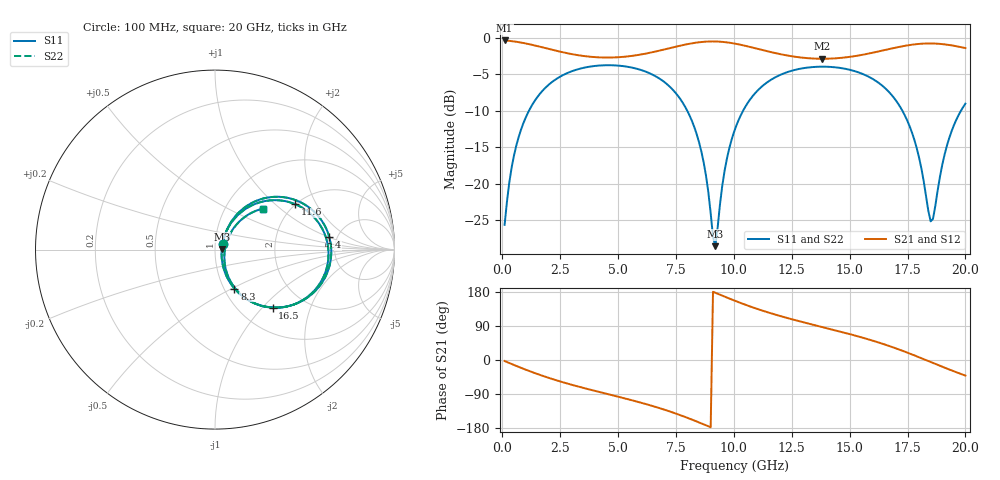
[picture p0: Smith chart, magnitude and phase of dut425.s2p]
! Touchstone file exported from HFSS 2026.1.0
!  File:  C:/ffzhzh/LocalFiles/Ansys_Project_Files/temp_train_TSV_RDL_425_1783096420_37876.aedt
!  Generated:  12:50:06 AM Jul  4, 2026
!  Design:  TSV_RDL
!  Project:  temp_train_TSV_RDL_425_1783096420_37876
! Variables:
!  h_bsmrdl = 3.42um
!  h_ox = 20um
!  h_rdl = 5um
!  h_sub = 56.31um
!  h_tmrdl = 2.87um
!  h_tsv = 56.31um
!  h_via = 3um
!  l_bsmrdl = 851.64um
!  l_sub = 7060.31um
!  l_tmrdl = 999.61um
!  m_sub = 200um
!  pitch = 53.75um
!  r_tsv = 6.03um
!  s_tmrdl = 10um
!  w_bsmrdl = 13.09um
!  w_sub = 500um
!  w_tmrdl = 22.56um
!  x_tsv_center1 = 1010.89um
!  x_tsv_center2 = 1875.62um
!  x_tsv_center3 = 2897.79um
!  x_tsv_center4 = 3762.52um
!  x_tsv_center5 = 4784.69um
!  x_tsv_center6 = 5649.42um
# GHz S MA R 50.000000
! Terminal data exported
! Port[1] = TM_RDL1_1_T1
! Port[2] = TM_RDL5_1_T1
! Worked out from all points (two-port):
!   200 points, 100 MHz to 20 GHz, reference 50 ohm
!   highest |S21| = -0.38 dB at 100 MHz (marker M1); lowest = -2.9 dB at 13.8 GHz (marker M2)
!   |S21| within 3 dB of the highest: start of sweep to end of sweep
!   lowest |S11| = -28.5 dB at 9.2 GHz (marker M3), VSWR 1.08, Z = 53.9 + j0.308 ohm
!   |S11| at or under -10 dB: start of sweep to 1.153 GHz; 7.987 GHz to 10.4 GHz (2.412 GHz wide, 26.2 % of centre); 17.28 GHz to 19.81 GHz (2.531 GHz wide, 13.6 % of centre)
!   |S22| runs from -28.5 to -3.8 dB; largest |S21 - S12| = 1.7e-14
!   S11 on the Smith chart (normalised r, x): 100 MHz: 1.09, +0.06; 4 GHz: 4.31, +1.03; 8.3 GHz: 1.12, -0.51; 11.6 GHz: 2.00, +1.37; 16.5 GHz: 1.40, -1.15; 20 GHz: 1.49, +0.78
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0.1  0.05232 33.9  0.9575 -2.7  0.9575 -2.7  0.05232 33.9
! Gamma 0 0 0 0
! Port Impedance 50 0 50 0
0.5  0.1548 59.8  0.9434 -13.1  0.9434 -13.1  0.1548 59.8
1.1  0.3045 53.7  0.9074 -27.6  0.9074 -27.6  0.3045 53.7
2.1  0.4906 36.2  0.8307 -49.0  0.8307 -49.0  0.4906 36.2
3.5  0.6214 13.7  0.7499 -73.6  0.7499 -73.6  0.6215 13.7
4  0.6406 6.3  0.7361 -81.5  0.7361 -81.5  0.6406 6.3
5.4  0.6328 -14.1  0.744 -103.0  0.744 -103.0  0.6328 -14.1
6.8  0.5235 -36.6  0.8165 -127.2  0.8165 -127.2  0.5235 -36.6
8.3  0.2423 -63.5  0.9213 -159.9  0.9213 -159.9  0.2423 -63.4
8.7  0.1392 -66.5  0.9375 -169.8  0.9375 -169.8  0.1393 -66.4
9.2  0.03737 4.4  0.9424 177.4  0.9424 177.4  0.03761 4.3
9.6  0.1225 58.3  0.9331 167.3  0.9331 167.3  0.1226 58.2
10.1  0.2483 55.5  0.9075 155.0  0.9075 155.0  0.2483 55.4
11.6  0.5147 29.4  0.7971 123.3  0.7971 123.3  0.5147 29.3
13.4  0.6294 1.8  0.7205 93.4  0.7205 93.4  0.6294 1.8
13.8  0.6334 -3.9  0.7174 87.2  0.7174 87.2  0.6334 -3.9
16.5  0.4562 -45.2  0.822 41.3  0.822 41.3  0.4562 -45.3
16.7  0.4248 -48.6  0.8356 37.1  0.8356 37.1  0.4248 -48.7
17.8  0.1988 -63.9  0.9001 12.1  0.9001 12.1  0.1987 -64.0
18.5  0.05527 -15.6  0.9135 -5.3  0.9135 -5.3  0.05526 -15.7
19.2  0.1817 49.4  0.8962 -22.6  0.8962 -22.6  0.1817 49.3
20  0.3535 40.3  0.8493 -41.1  0.8493 -41.1  0.3535 40.3
